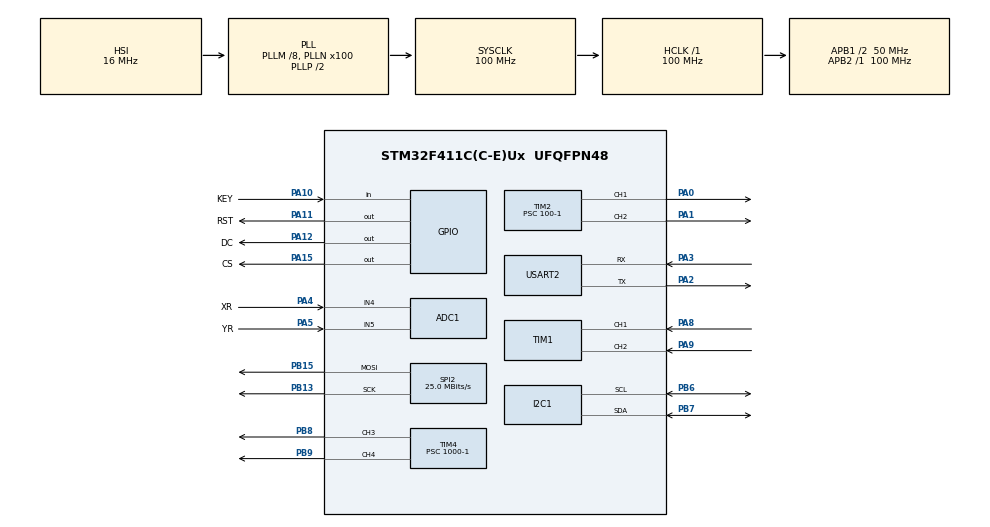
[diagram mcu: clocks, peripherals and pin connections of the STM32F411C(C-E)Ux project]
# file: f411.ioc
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ADC1.Channel-0\#ChannelRegularConversion=ADC_CHANNEL_4
ADC1.NbrOfConversionFlag=1
ADC1.Rank-0\#ChannelRegularConversion=1
ADC1.SamplingTime-0\#ChannelRegularConversion=ADC_SAMPLETIME_3CYCLES
ADC1.master=1
Dma.I2C1_RX.1.Direction=DMA_PERIPH_TO_MEMORY
Dma.I2C1_RX.1.FIFOMode=DMA_FIFOMODE_DISABLE
Dma.I2C1_RX.1.Instance=DMA1_Stream0
Dma.I2C1_RX.1.MemDataAlignment=DMA_MDATAALIGN_BYTE
Dma.I2C1_RX.1.MemInc=DMA_MINC_ENABLE
Dma.I2C1_RX.1.Mode=DMA_NORMAL
Dma.I2C1_RX.1.PeriphDataAlignment=DMA_PDATAALIGN_BYTE
Dma.I2C1_RX.1.PeriphInc=DMA_PINC_DISABLE
Dma.I2C1_RX.1.Priority=DMA_PRIORITY_LOW
Dma.I2C1_TX.2.Direction=DMA_MEMORY_TO_PERIPH
Dma.I2C1_TX.2.FIFOMode=DMA_FIFOMODE_DISABLE
Dma.I2C1_TX.2.Instance=DMA1_Stream1
Dma.I2C1_TX.2.MemDataAlignment=DMA_MDATAALIGN_BYTE
Dma.I2C1_TX.2.MemInc=DMA_MINC_ENABLE
Dma.I2C1_TX.2.Mode=DMA_NORMAL
Dma.I2C1_TX.2.PeriphDataAlignment=DMA_PDATAALIGN_BYTE
Dma.I2C1_TX.2.PeriphInc=DMA_PINC_DISABLE
Dma.I2C1_TX.2.Priority=DMA_PRIORITY_LOW
Dma.Request0=SPI2_TX
Dma.Request1=I2C1_RX
Dma.Request2=I2C1_TX
Dma.SPI2_TX.0.Direction=DMA_MEMORY_TO_PERIPH
Dma.SPI2_TX.0.FIFOMode=DMA_FIFOMODE_DISABLE
Dma.SPI2_TX.0.Instance=DMA1_Stream4
Dma.SPI2_TX.0.MemDataAlignment=DMA_MDATAALIGN_BYTE
Dma.SPI2_TX.0.MemInc=DMA_MINC_ENABLE
Dma.SPI2_TX.0.Mode=DMA_NORMAL
Dma.SPI2_TX.0.PeriphDataAlignment=DMA_PDATAALIGN_BYTE
Dma.SPI2_TX.0.PeriphInc=DMA_PINC_DISABLE
Dma.SPI2_TX.0.Priority=DMA_PRIORITY_LOW
Mcu.Family=STM32F4
Mcu.Name=STM32F411C(C-E)Ux
Mcu.Package=UFQFPN48
NVIC.DMA1_Stream0_IRQn=true\:0\:0\:false\:false\:true\:false\:true\:true
NVIC.DMA1_Stream1_IRQn=true\:0\:0\:false\:false\:true\:false\:true\:true
NVIC.DMA1_Stream4_IRQn=true\:0\:0\:false\:false\:true\:false\:true\:true
NVIC.PriorityGroup=NVIC_PRIORITYGROUP_4
PA0-WKUP.Signal=S_TIM2_CH1_ETR
PA1.Signal=S_TIM2_CH2
PA10.GPIO_Label=KEY
PA10.Signal=GPIO_Input
PA11.GPIO_Label=RST
PA11.Signal=GPIO_Output
PA12.GPIO_Label=DC
PA12.Signal=GPIO_Output
PA13.Mode=Serial_Wire
PA13.Signal=SYS_JTMS-SWDIO
PA14.Mode=Serial_Wire
PA14.Signal=SYS_JTCK-SWCLK
PA15.GPIO_Label=CS
PA15.Signal=GPIO_Output
PA2.Mode=Asynchronous
PA2.Signal=USART2_TX
PA3.Mode=Asynchronous
PA3.Signal=USART2_RX
PA4.GPIO_Label=XR
PA4.Signal=ADCx_IN4
PA5.GPIO_Label=YR
PA5.Signal=ADCx_IN5
PA8.Signal=S_TIM1_CH1
PA9.Signal=S_TIM1_CH2
PB13.Mode=TX_Only_Simplex_Unidirect_Master
PB13.Signal=SPI2_SCK
PB15.Mode=TX_Only_Simplex_Unidirect_Master
PB15.Signal=SPI2_MOSI
PB6.Mode=I2C
PB6.Signal=I2C1_SCL
PB7.Mode=I2C
PB7.Signal=I2C1_SDA
PB8.Signal=S_TIM4_CH3
PB9.Signal=S_TIM4_CH4
PH0\ -\ OSC_IN.Mode=HSE-External-Oscillator
PH0\ -\ OSC_IN.Signal=RCC_OSC_IN
PH1\ -\ OSC_OUT.Mode=HSE-External-Oscillator
PH1\ -\ OSC_OUT.Signal=RCC_OSC_OUT
ProjectManager.HeapSize=0x200
ProjectManager.StackSize=0x400
ProjectManager.TargetToolchain=STM32CubeIDE
RCC.48MHZClocksFreq_Value=50000000
RCC.AHBFreq_Value=100000000
RCC.APB1CLKDivider=RCC_HCLK_DIV2
RCC.APB1Freq_Value=50000000
RCC.APB1TimFreq_Value=100000000
RCC.APB2Freq_Value=100000000
RCC.APB2TimFreq_Value=100000000
RCC.CortexFreq_Value=100000000
RCC.HCLKFreq_Value=100000000
RCC.HSE_VALUE=25000000
RCC.HSI_VALUE=16000000
RCC.LSE_VALUE=32768
RCC.PLLM=8
RCC.PLLN=100
RCC.SYSCLKFreq_VALUE=100000000
RCC.SYSCLKSource=RCC_SYSCLKSOURCE_PLLCLK
RCC.VCOOutputFreq_Value=200000000
SH.ADCx_IN4.0=ADC1_IN4,IN4
SH.ADCx_IN5.0=ADC1_IN5,IN5
SH.S_TIM1_CH1.0=TIM1_CH1,Encoder_Interface
SH.S_TIM1_CH2.0=TIM1_CH2,Encoder_Interface
SH.S_TIM2_CH1_ETR.0=TIM2_CH1,PWM Generation1 CH1
SH.S_TIM2_CH2.0=TIM2_CH2,PWM Generation2 CH2
SH.S_TIM4_CH3.0=TIM4_CH3,PWM Generation3 CH3
SH.S_TIM4_CH4.0=TIM4_CH4,PWM Generation4 CH4
SPI2.CalculateBaudRate=25.0 MBits/s
SPI2.Direction=SPI_DIRECTION_2LINES
SPI2.Mode=SPI_MODE_MASTER
SPI2.VirtualType=VM_MASTER
TIM2.Channel-PWM\ Generation1\ CH1=TIM_CHANNEL_1
TIM2.Channel-PWM\ Generation2\ CH2=TIM_CHANNEL_2
TIM2.Period=100-1
TIM2.Prescaler=100-1
TIM4.Channel-PWM\ Generation3\ CH3=TIM_CHANNEL_3
TIM4.Channel-PWM\ Generation4\ CH4=TIM_CHANNEL_4
TIM4.Period=2000-1
TIM4.Prescaler=1000-1
USART2.VirtualMode=VM_ASYNC
VP_TIM2_VS_ClockSourceINT.Mode=Internal
VP_TIM4_VS_ClockSourceINT.Mode=Internal
board=custom

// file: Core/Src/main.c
/* USER CODE BEGIN Header */
/**
  ******************************************************************************
  * @file           : main.c
  * @brief          : Main program body
  ******************************************************************************
  * @attention
  *
  * Copyright (c) 2026 STMicroelectronics.
  * All rights reserved.
  *
  * This software is licensed under terms that can be found in the LICENSE file
  * in the root directory of this software component.
  * If no LICENSE file comes with this software, it is provided AS-IS.
  *
  ******************************************************************************
  */
/* USER CODE END Header */
#include "main.h"
#include "adc.h"
#include "dma.h"
#include "i2c.h"
#include "spi.h"
#include "tim.h"
#include "usart.h"
#include "gpio.h"

/* USER CODE BEGIN Includes */
#include "LCD.h"
#include "aht20.h"
#include "stdio.h"
#include "6050.h"
#include "printf.h"
#include "cursor.h"
#include "mystring.h"
#include "encoder.h"
#include "cmd_process.h"
#include "drv8833.h"
#include "servo.h"

#include <string.h>
#include <inttypes.h>  // 确保包含这个头文件
#include <stdio.h>
#include <math.h>
/* USER CODE END Includes */

/* USER CODE BEGIN PD */
#define COUNT_MID 20
/* USER CODE END PD */

/* USER CODE BEGIN PV */
static uint32_t last_process_time = 0;
uint32_t last_display1 = 0;
uint32_t last_display2 = 0;
char display_buf[16];  // 局部缓冲区，不占用全局内存
char uart_buffer[32];
float angle1 =0;
float angle2 =0;

static int16_t last_position = 0;
static uint32_t last_rotate_time = 0;
static uint8_t timer_active = 0;        // 定时器是否激活

static uint32_t last_check = 0;

static uint8_t mode = 0;
static uint8_t char_index = 0;
static uint8_t inpmode = 0;
static uint8_t cmd_index = 0;
static uint8_t cmd_tag = 0;
static uint8_t cal_tag = 0;
static uint8_t cmd_level = 0;
static uint32_t mask = 0;

// 预览显示区域的位置（在文本框上方）
#define PREVIEW_X   8
#define PREVIEW_Y   120
#define MODE_X      8
#define MODE_Y      25
/* USER CODE END PV */

void SystemClock_Config(void);

int main(void)
{

  /* MCU Configuration--------------------------------------------------------*/

  /* Reset of all peripherals, Initializes the Flash interface and the Systick. */
  HAL_Init();

  /* Configure the system clock */
  SystemClock_Config();

  /* Initialize all configured peripherals */
  MX_GPIO_Init();
  MX_DMA_Init();
  MX_SPI2_Init();
  MX_TIM1_Init();
  MX_I2C1_Init();
  MX_TIM4_Init();
  MX_ADC1_Init();
  MX_USART2_UART_Init();
  MX_TIM2_Init();
  /* USER CODE BEGIN 2 */
  LCD_Init();
  for(uint16_t i=0x0000;i<CYAN;i+=((0x01<<6)+0X01)){
  LCD_Clear_DMA(i);
  }LCD_WaitForDMA();
  LCD_Clear(CYAN);

  DRV8833_Init();
  int count = 0;
  int speed = 0;

  if(AHT20_Init(&hi2c1)==HAL_OK){;
  LCD_ShowString(8, 14, "AHT20 is ready", RED, &afont8x6);
  }
  HAL_Delay(20);

  Servo_InitAlphaTable();
  if(MPU6050_Init(&hi2c1) == HAL_OK) {
  LCD_ShowString(8, 6, "MPU6050 is ready", RED, &afont8x6);
  	// 	  OLED_DrawImage((128 - (lklkImg.w)) / 2, 0, &lklkImg, OLED_COLOR_NORMAL);
  	// 	  OLED_ShowFrame();
  	/* 启动第一次DMA读取 */
  HAL_Delay(100);
  MPU6050_StartDMARead();
  } else {
  //	while(1);
  }

  HAL_TIM_PWM_Start(&htim4, TIM_CHANNEL_3);
  HAL_TIM_PWM_Start(&htim4, TIM_CHANNEL_4);
  HAL_TIM_Encoder_Start(&htim1, TIM_CHANNEL_ALL);
  last_process_time = HAL_GetTick();

  LCD_InitContext(55, 5, &afont12x8, WHITE, BLACK);

  LCD_Printf(" hello, A&B\n");

  // 显示模式提示
  LCD_ShowString(8, 25, "Mode: letters", GREEN, &afont8x6);

  // 显示初始预览
  char preview_buf[20];
  sprintf(preview_buf, "[%c]", charset[mode][char_index]);
  LCD_ShowString(PREVIEW_X, PREVIEW_Y, preview_buf, YELLOW, &afont12x8);

  uint16_t current_line;
  uint8_t current_pos;
  uint16_t past_line ;
  uint8_t past_pos;
  /* USER CODE END 2 */

  /* Infinite loop */
  /* USER CODE BEGIN WHILE */
  while (1)
  {

//
//		char message_temp[30];
//		sprintf(message_temp, "temperature: %d ", (uint8_t)temperature);
//		LCD_ShowString_DMA(8,44,message_temp,BLUE,&afont8x6);
//		LCD_WaitForDMA();
			    //光标闪烁处理
      LCD_CursorBlink();

	    // 显示光标位置信息（调试用）

	    LCD_GetCursorPos(&current_line, &current_pos);

	    char pos_buf[30];
	    sprintf(pos_buf, "L:%d P:%d", current_line, current_pos);
	    LCD_ShowString(8,35, pos_buf, GREEN, &afont8x6);
	    if(current_pos!=past_pos || current_line!=past_line){
	    LCD_ClearArea(8, 35, 55, 8, CYAN);
	    LCD_ShowString(8,35, pos_buf, GREEN, &afont8x6);
	    past_line=current_line;
	    past_pos=current_pos;
	    }
	    // ===== 添加这行：显示当前 inpmode =====
	       char mode_buf[20];
	       sprintf(mode_buf, "inpmode:%d", inpmode);
	       LCD_ShowString(8, 145, mode_buf, RED, &afont8x6);

	    // ==================== 1. 读取编码器位置 ====================
	    int16_t current_position = (int16_t)__HAL_TIM_GET_COUNTER(&htim1)/4;
//	    char a[20];
//	    sprintf(a,"%02d",current_position);
//	    LCD_ShowString(8, 125, a, RED, &afont8x6);

	    // ==================== 2. 检测编码器旋转 ====================
	    if (current_position != last_position) {
	    	HAL_Delay(20);
	    	if (current_position != last_position) {
	        int8_t direction = (current_position > last_position) ? 1 : -1;
	        last_position = current_position;
	        if(inpmode==0){
	        // 更新字符索引
	        int len = strlen(charset[mode]);
	        char_index = (char_index + len + direction) % len;

	        // 清除之前的预览
	        LCD_ClearArea(PREVIEW_X, PREVIEW_Y,8*lcd_ctx.font->w, lcd_ctx.font->h, CYAN);

	        // 显示当前选中的字符预览
	        if (mode == 4) {
	            // 控制字符模式：显示预览文本
	            LCD_ShowString(PREVIEW_X, PREVIEW_Y,
	                          ctrl_preview[char_index],
	                          RED, &afont12x8);
	        } else {
	            // 普通字符模式：显示字符
	            char preview_str[4] = "[ ]";
	            preview_str[1] = charset[mode][char_index];
	            LCD_ShowString(PREVIEW_X, PREVIEW_Y, preview_str,
	                          YELLOW, &afont12x8);
	        }}
	        if(inpmode==1){

	        	if(motor_tag == 1){
	        		  count = __HAL_TIM_GET_COUNTER(&htim1);
	        		  if (count > 60000){
	        			  count = 0;
	        			  __HAL_TIM_SET_COUNTER(&htim1, 0);
	        		  }else if (count > COUNT_MID * 2){
	        			  count = COUNT_MID * 2;
	        			  __HAL_TIM_SET_COUNTER(&htim1, COUNT_MID * 2);
	        		  }

	        		  if (count < COUNT_MID){
	        			  speed = (COUNT_MID - count) * 100 / COUNT_MID;
	        			  DRV8833_Backward(speed);
	        		  }else{
	        			  speed = (count - COUNT_MID) * 100 / COUNT_MID;
	        			  DRV8833_Forward(speed);
	        		  }
	        	}

	        	if(servo_tag == 1){

	        	}

	        	if(tag_check()==HAL_OK){
	        	const char** current_list = NULL;
	        	current_list = get_command_set_by_mask(mask);

	        	    // 计算选定指令集的大小
	        	    int list_size = 0;
	        	    if (current_list) {
	        	        while (current_list[list_size] != NULL) {
	        	            list_size++;
	        	        }
	        	    }

	        	    // 更新索引
	        	    if (list_size > 0) {
	        	        cmd_index = (cmd_index + list_size + direction) % list_size;
	        	    }

	        	    // 清除预览区域
	        	    LCD_ClearArea(PREVIEW_X, PREVIEW_Y, 8*lcd_ctx.font->w, lcd_ctx.font->h, CYAN);

	        	    // 复制选中的指令到preview_cmd
	        	    if (current_list && list_size > 0) {

	        	        strcpy(preview_cmd, current_list[cmd_index]);

	        	    }
	        	LCD_ShowString(PREVIEW_X, PREVIEW_Y, preview_cmd,
	        		                          YELLOW, &afont12x8);
	        	char index_buf[20];
	        		       sprintf(index_buf, "0x%" PRIx32, mask);
//	        		       sprintf(index_buf, "%lu", (unsigned long)mask);
	        		       LCD_ClearArea(88, 145, 24, 8, CYAN);
	        		       LCD_ShowString(88, 145, index_buf, RED, &afont8x6);
	        	}
	        }
	        if(inpmode==2){

	        	LCD_ClearArea(lcd_ctx.cursor_x,
	        	                         lcd_ctx.cursor_y + lcd_ctx.font->h - 1,
	        	                         lcd_ctx.font->w, 1,
	        	                         lcd_ctx.bg_color);

	        	// 模式2：移动光标
	        	    uint16_t current_line;
	        	    uint8_t current_pos;
	        	    LCD_GetCursorPos(&current_line, &current_pos);

					LCD_Context_Buffer lcd_c_buf = {
							.buff = {0},
							.buff_head_line = current_line,
							.buff_head_pos = current_pos,
							.buff_end_line = current_line,
							.buff_end_pos = current_pos,
							.buff_len = 0
					};//初始化暂存文本
					uint8_t end_pos = current_pos;  // 保存旧位置用于判断
	        	    // 左右旋转移动光标
	        	    if (direction > 0) {

	        	        // 右旋：光标右移
	        	        if (current_pos < lcd_ctx.max_charsperline) {
//	        	        	lcd_ctx.history[lcd_ctx.current_page][lcd_ctx.current_line][lcd_ctx.current_line_pos] = ' ';
	        	            current_pos++;
	        	            if(current_pos>end_pos){end_pos=current_pos;}
//	        	            lcd_ctx.history[lcd_ctx.current_page][lcd_ctx.current_line][lcd_ctx.current_line_pos] = '\0';
	        	        } else {
	        	            // 如果到行尾，换到下一行开头
	        	            if (current_line < lcd_ctx.history_count - 1) {
	        	                current_line++;
	        	                current_pos = 0;
	        	            }

	        	        }

	        	        //更新暂存文本数组，不更新显示
	        	        if(current_line==lcd_c_buf.buff_end_line && current_pos>lcd_c_buf.buff_end_pos){
	        	        	lcd_ctx.history[lcd_ctx.current_page][lcd_ctx.current_line][lcd_ctx.current_line_pos] = ' ';
	        	        	lcd_c_buf.buff[lcd_c_buf.buff_len]=' ';
	        	        	lcd_c_buf.buff_len++;
	        	        	lcd_c_buf.buff_end_pos++;
	        	        	lcd_c_buf.buff[lcd_c_buf.buff_len]= '\0';
	        	        }
	        	        if(current_line>lcd_c_buf.buff_end_line){

	        	        	lcd_c_buf.buff_len += lcd_ctx.max_charsperline - lcd_c_buf.buff_end_pos + 1;
	        	        	lcd_c_buf.buff_end_line++;
	        	        	lcd_c_buf.buff_end_pos=0;
	        	        	lcd_c_buf.buff[lcd_c_buf.buff_len]= '\0';
	        	        }
//	        	        lcd_ctx.history[lcd_ctx.current_page][lcd_ctx.current_line][lcd_ctx.current_line_pos] = '\0';
	        	    } else {
	        	        // 左旋：光标左移
	        	        if (current_pos > 0) {
	        	            current_pos--;
	        	        } else {
	        	            // 如果到行首，换到上一行末尾
	        	            if (current_line > 0) {
	        	                current_line--;
	        	                current_pos = strlen(lcd_ctx.history[lcd_ctx.current_page][current_line]);
	        	            }else {
	        	                // ===== 新增：如果已经是最顶行且是第一列 =====
	        	                // 检查是否还有上一行历史记录
	        	                if (lcd_ctx.history_head > 0) {
	        	                    // history_head 上移一行
	        	                    lcd_ctx.history_head--;

	        	                    // 当前行不变（还是第一行）
	        	                    current_line = 0;

	        	                    // 获取新显示的第一行的内容，将光标移到该行末尾
	        	                    current_pos = strlen(lcd_ctx.history[lcd_ctx.current_page][lcd_ctx.history_head]);

	        	                    // 刷新显示
	        	                    LCD_RefreshDisplay();

//	        	                    // 可选：显示提示信息
//	        	                    LCD_ClearArea(PREVIEW_X, PREVIEW_Y, 3*lcd_ctx.font->w, lcd_ctx.font->h, CYAN);
//	        	                    LCD_ShowString(PREVIEW_X, PREVIEW_Y, "Scroll Up", WHITE, &afont12x8);
	        	                }
	        	            }
	        	        }

	        	        //更新暂存文本数组，不更新显示
	        	        if(current_line == lcd_c_buf.buff_head_line && current_pos<lcd_c_buf.buff_head_pos){
	        	        	memmove(&lcd_c_buf.buff[1],&lcd_c_buf.buff[0],lcd_c_buf.buff_len + 1);
	        	        	lcd_c_buf.buff[0] = lcd_ctx.history[lcd_ctx.current_page][lcd_ctx.current_line][lcd_ctx.current_line_pos];
	        	        	lcd_c_buf.buff_len++;
	        	        	lcd_c_buf.buff_head_pos--;
	        	        }
	        	        if(current_line < lcd_c_buf.buff_head_line){
	        	        	memmove(&lcd_c_buf.buff[1],&lcd_c_buf.buff[0],lcd_c_buf.buff_len + 1);
							lcd_c_buf.buff[0] = lcd_ctx.history[lcd_ctx.current_page][lcd_ctx.current_line][lcd_ctx.current_line_pos];
							lcd_c_buf.buff_len++;
							lcd_c_buf.buff_head_line--;
							lcd_c_buf.buff_head_pos = lcd_ctx.max_charsperline;
	        	        }

	        	    }

	        	    // 更新光标位置
	        	    lcd_ctx.current_line = current_line;
	        	    lcd_ctx.current_line_pos = current_pos;
	        	    LCD_SyncCursor();
//	        	    LCD_RefreshDisplay();

	        }

	        // 更新计时器
	        last_rotate_time = HAL_GetTick();
	        timer_active = 1;  // 启动800ms计时
	    }
	    }
	    // ==================== 3. 检测模式切换按钮 ====================
	    // PA10 短按切换模式
	    if (HAL_GPIO_ReadPin(GPIOA, GPIO_PIN_10) == GPIO_PIN_RESET) {
	        HAL_Delay(20);  // 消抖

	        if (HAL_GPIO_ReadPin(GPIOA, GPIO_PIN_10) == GPIO_PIN_RESET) {
	            // 等待按钮释放
	        	tag_reset();
	        	DRV8833_Brake();
	            uint32_t pressTime = 0;
	            int longPressHandled = 0;  // 标记是否已经处理过长按
	            uint32_t startTime = HAL_GetTick();  // 记录开始时间
	            while (HAL_GPIO_ReadPin(GPIOA, GPIO_PIN_10) == GPIO_PIN_RESET) {
	                HAL_Delay(10);
	                pressTime = HAL_GetTick() - startTime;

					// 检测长按（例如1000ms = 1秒）
					if (pressTime >= 800 && !longPressHandled) {
						longPressHandled = 1;
						LCD_RefreshDisplay();// 确保光标位置正确
				        LCD_SyncCursor();
						// ===== 长按操作：切换输入模式 =====

						 inpmode = (inpmode + 1) % 3;

						// 显示提示信息
						LCD_ClearArea(PREVIEW_X, PREVIEW_Y,8*lcd_ctx.font->w, lcd_ctx.font->h, CYAN);
						LCD_ShowString(8, 130, "Input Mode Changed", YELLOW, &afont8x6);
						HAL_Delay(500);
						LCD_ClearArea(8, 130, 120, 8, CYAN);

						if(inpmode==1){
							LCD_Printf("\n");
						}
					}
	            }
	            if (!longPressHandled) {

	            // === 切换模式 ===
	            mode = (mode + 1) % 5;
	            char_index = 0;

	            // === 更新显示 ===

	            // 清除模式显示
	            LCD_ClearArea(MODE_X, MODE_Y, 80, 10, lcd_ctx.bg_color);

	            // 显示新模式名称
	            LCD_ShowString(MODE_X, MODE_Y, mode_names[mode],
	                          GREEN, &afont8x6);

	            // 清除预览区域
	            LCD_ClearArea(PREVIEW_X, PREVIEW_Y, 3*lcd_ctx.font->w, lcd_ctx.font->h, lcd_ctx.bg_color);

	            // 显示新模式的第一个字符预览
	            if (mode == 4) {
	                LCD_ShowString(PREVIEW_X, PREVIEW_Y,
	                              ctrl_preview[0], RED, &afont12x8);
	            } else {
	                char preview_str[4] = "[ ]";
	                preview_str[1] = charset[mode][0];
	                LCD_ShowString(PREVIEW_X, PREVIEW_Y, preview_str,
	                              YELLOW, &afont12x8);
	            }

	            // 重置计时器
	            last_rotate_time = HAL_GetTick();
//	            timer_active = 1;
	            }
	        }
	    }

	    // ==================== 4. 800ms超时检测 ====================
	    // 如果旋转后800ms没有操作，自动输出当前字符
	    if (timer_active && (HAL_GetTick() - last_rotate_time > 800)) {
	    	if (inpmode == 0){
				if (mode == 4) {
					// 控制字符模式：执行控制功能
					char ctrl_ch = charset[4][char_index];

					// 执行控制字符
					LCD_Printf("%c", ctrl_ch);

				} else {
					// 普通字符模式：输出当前字符
					char ch = charset[mode][char_index];
					LCD_Printf("%c", ch);

				}
	    	}
	    	if (inpmode == 1){
	    		if(tag_check()==HAL_OK){
					if(cal_tag == 0){
	//	    		cmd_mode_index [cmd_level]= cmd_index;
					mask|=ENCODE_MODE(cmd_level,cmd_index+1);
					}
					if(strcmp(preview_cmd, "\\b") == 0){
						LCD_Printf("\b");
					}
					else{LCD_Printf("%s",preview_cmd);}
					if(strcmp(preview_cmd, ">") == 0){
						cal_tag = 0;
						cmd_tag++;
					}

					if(cal_tag == 0){
					cmd_tag++;
					cmd_level++;
					}

					if(cmd_tag == 3){
						LCD_Printf(">>");
						//执行指令
						cmd_process(mask);

						LCD_Printf("\n");
						cmd_tag = 0;
						cal_tag = 0;
						mask = 0;
						cmd_level = 0;
					}
	    		}
	    	}
	        timer_active = 0;  // 停止计时

	    }
    /* USER CODE END WHILE */

  }
}

void SystemClock_Config(void)
{
  RCC_OscInitTypeDef RCC_OscInitStruct = {0};
  RCC_ClkInitTypeDef RCC_ClkInitStruct = {0};

  /** Configure the main internal regulator output voltage
  */
  __HAL_RCC_PWR_CLK_ENABLE();
  __HAL_PWR_VOLTAGESCALING_CONFIG(PWR_REGULATOR_VOLTAGE_SCALE1);

  /** Initializes the RCC Oscillators according to the specified parameters
  * in the RCC_OscInitTypeDef structure.
  */
  RCC_OscInitStruct.OscillatorType = RCC_OSCILLATORTYPE_HSI;
  RCC_OscInitStruct.HSIState = RCC_HSI_ON;
  RCC_OscInitStruct.HSICalibrationValue = RCC_HSICALIBRATION_DEFAULT;
  RCC_OscInitStruct.PLL.PLLState = RCC_PLL_ON;
  RCC_OscInitStruct.PLL.PLLSource = RCC_PLLSOURCE_HSI;
  RCC_OscInitStruct.PLL.PLLM = 8;
  RCC_OscInitStruct.PLL.PLLN = 100;
  RCC_OscInitStruct.PLL.PLLP = RCC_PLLP_DIV2;
  RCC_OscInitStruct.PLL.PLLQ = 4;
  if (HAL_RCC_OscConfig(&RCC_OscInitStruct) != HAL_OK)
  {
    Error_Handler();
  }

  /** Initializes the CPU, AHB and APB buses clocks
  */
  RCC_ClkInitStruct.ClockType = RCC_CLOCKTYPE_HCLK|RCC_CLOCKTYPE_SYSCLK
                              |RCC_CLOCKTYPE_PCLK1|RCC_CLOCKTYPE_PCLK2;
  RCC_ClkInitStruct.SYSCLKSource = RCC_SYSCLKSOURCE_PLLCLK;
  RCC_ClkInitStruct.AHBCLKDivider = RCC_SYSCLK_DIV1;
  RCC_ClkInitStruct.APB1CLKDivider = RCC_HCLK_DIV2;
  RCC_ClkInitStruct.APB2CLKDivider = RCC_HCLK_DIV1;

  if (HAL_RCC_ClockConfig(&RCC_ClkInitStruct, FLASH_LATENCY_3) != HAL_OK)
  {
    Error_Handler();
  }
}

void Error_Handler(void)
{
  __disable_irq();
  while (1)
  {
  }
}
